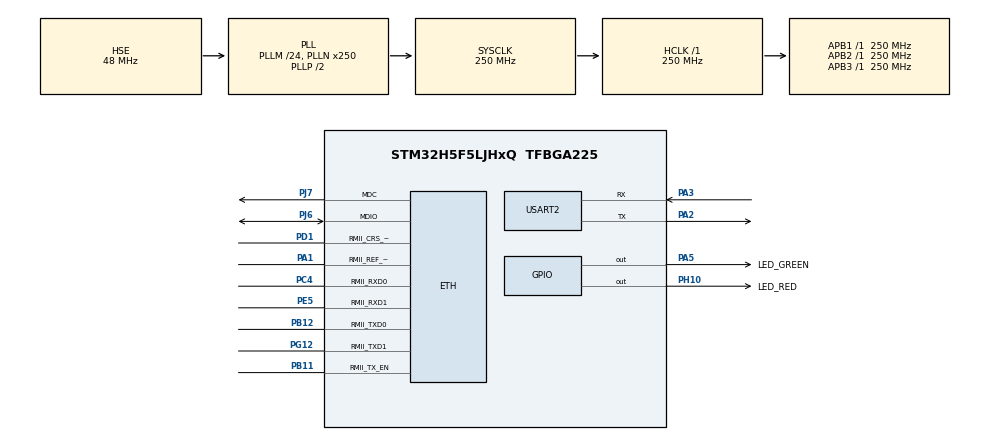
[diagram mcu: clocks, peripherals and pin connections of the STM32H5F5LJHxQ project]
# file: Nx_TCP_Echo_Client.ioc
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CORTEX_M33_NS.userName=CORTEX_M33
ETH.MediaInterface=HAL_ETH_RMII_MODE
ETH.RxBuffLen=1536
Mcu.Family=STM32H5
Mcu.Name=STM32H5F5LJHxQ
Mcu.Package=TFBGA225
NETXDUO.ETH_ON=1
NETXDUO.LAN_8742=1
NETXDUO.NX_APP_IP_INSTANCE_THREAD_SIZE=2 * 1024
NETXDUO.NX_APP_MEM_POOL_SIZE=30 * 1024
NETXDUO.NX_APP_PACKET_POOL_SIZE=10
NETXDUO.NX_APP_THREAD_STACK_SIZE=2 * 1024
NETXDUO.NX_DHCP_CLIENT_RESTORE_STATE=true
NETXDUO.NX_ENABLE_INTERFACE_CAPABILITY=true
NETXDUO.NetXDuo_Application_Thread_Name=App_Main_Thread_Entry
NETXDUO.NetXDuo_Generate_Init_Code=true
NVIC.ETH_IRQn=true\:7\:0\:true\:false\:true\:false\:true\:true\:true
NVIC.PriorityGroup=NVIC_PRIORITYGROUP_4
NVIC.TIM6_IRQn=true\:15\:0\:false\:false\:true\:false\:false\:true\:true
NVIC.TimeBase=TIM6_IRQn
NVIC.TimeBaseIP=TIM6
NetXDuo.BSP.number=1
NetXDuo0.BSP.STBoard=false
NetXDuo0.BSP.api=BSP_COMPONENT_DRIVER
NetXDuo0.BSP.component=lan8742
NetXDuo0.BSP.instance=lan8742
NetXDuo0.BSP.name=LAN_Component
NetXDuo0.BSP.semaphore=SEMA_lan8742
NetXDuo0.BSP.solution=lan8742
PA1.GPIO_Speed=GPIO_SPEED_FREQ_VERY_HIGH
PA1.Mode=RMII
PA1.Signal=ETH_RMII_REF_CLK
PA2.GPIO_Speed=GPIO_SPEED_FREQ_HIGH
PA2.Mode=Asynchronous
PA2.Signal=USART2_TX
PA3.GPIO_Speed=GPIO_SPEED_FREQ_HIGH
PA3.Mode=Asynchronous
PA3.Signal=USART2_RX
PA5.GPIO_Label=LED_GREEN
PA5.GPIO_Speed=GPIO_SPEED_FREQ_HIGH
PA5.PinState=GPIO_PIN_SET
PA5.Signal=GPIO_Output
PB11.GPIO_Speed=GPIO_SPEED_FREQ_VERY_HIGH
PB11.Mode=RMII
PB11.Signal=ETH_RMII_TX_EN
PB12.GPIO_Speed=GPIO_SPEED_FREQ_VERY_HIGH
PB12.Mode=RMII
PB12.Signal=ETH_RMII_TXD0
PC4.GPIO_Speed=GPIO_SPEED_FREQ_VERY_HIGH
PC4.Mode=RMII
PC4.Signal=ETH_RMII_RXD0
PD1.GPIO_Speed=GPIO_SPEED_FREQ_VERY_HIGH
PD1.Mode=RMII
PD1.Signal=ETH_RMII_CRS_DV
PE5.GPIO_Speed=GPIO_SPEED_FREQ_VERY_HIGH
PE5.Mode=RMII
PE5.Signal=ETH_RMII_RXD1
PG12.GPIO_Speed=GPIO_SPEED_FREQ_VERY_HIGH
PG12.Mode=RMII
PG12.Signal=ETH_RMII_TXD1
PH0-OSC_IN(PH0).Mode=HSE-External-Oscillator
PH0-OSC_IN(PH0).Signal=RCC_OSC_IN
PH1-OSC_OUT(PH1).Mode=HSE-External-Oscillator
PH1-OSC_OUT(PH1).Signal=RCC_OSC_OUT
PH10.GPIO_Label=LED_RED
PH10.GPIO_Speed=GPIO_SPEED_FREQ_HIGH
PH10.PinState=GPIO_PIN_SET
PH10.Signal=GPIO_Output
PJ6.GPIO_Speed=GPIO_SPEED_FREQ_VERY_HIGH
PJ6.Mode=RMII
PJ6.Signal=ETH_MDIO
PJ7.GPIO_Speed=GPIO_SPEED_FREQ_VERY_HIGH
PJ7.Mode=RMII
PJ7.Signal=ETH_MDC
ProjectManager.HeapSize=0x200
ProjectManager.StackSize=0x400
ProjectManager.TargetToolchain=EWARM V9.20
RCC.ADCFreq_Value=250000000
RCC.AHBFreq_Value=250000000
RCC.APB1Freq_Value=250000000
RCC.APB1TimFreq_Value=250000000
RCC.APB2Freq_Value=250000000
RCC.APB2TimFreq_Value=250000000
RCC.APB3Freq_Value=250000000
RCC.CSI_VALUE=4000000
RCC.CortexFreq_Value=250000000
RCC.EPOD_VALUE=48000000
RCC.HCLKFreq_Value=250000000
RCC.HSE_VALUE=48000000
RCC.HSI48_VALUE=48000000
RCC.HSI_VALUE=64000000
RCC.LSE_VALUE=32768
RCC.LSIRC_VALUE=32000
RCC.PLL2FRACN=0
RCC.PLL3FRACN=0
RCC.PLLFRACN=0
RCC.PLLM=24
RCC.PLLN=250
RCC.PLLSourceVirtual=RCC_PLL1_SOURCE_HSE
RCC.SYSCLKFreq_VALUE=250000000
RCC.SYSCLKSource=RCC_SYSCLKSOURCE_PLLCLK
RCC.USBFreq_Value=258000000
RCC.VCOOutputFreq_Value=500000000
THREADX.TX_APP_CREATION=1
THREADX.TX_APP_GENERATE_INIT_CODE=false
THREADX.TX_APP_MEM_POOL_SIZE=1024
THREADX.TX_APP_THREAD_ENTRY=MainThread_Entry
THREADX.TX_APP_THREAD_NAME=Main Thread
THREADX.TX_APP_THREAD_PRIO=5
USART2.VirtualMode-Asynchronous=VM_ASYNC
VP_CORTEX_M33_NS_VS_Hclk.Mode=Hclk_Mode
VP_ICACHE_VS_ICACHE.Mode=DefaultMode
VP_NETXDUO_VS_AddonsOoDHCP.Mode=Addons_DHCP_Client
VP_NETXDUO_VS_EthernetOoPhyOoInterface.Mode=LAN8742_Phy_Interface
VP_NETXDUO_VS_NXOoCore.Mode=NX_Core
VP_NETXDUO_VS_NetworkOoInterface.Mode=Ethernet_Interface
VP_PWR_VS_LPOM.Mode=PowerOptimisation
VP_PWR_VS_SECSignals.Mode=Security/Privilege
VP_SYS_VS_tim6.Mode=TIM6
VP_THREADX_VS_RTOSJjThreadXJjCoreJjDefault.Mode=Core_Default
board=custom

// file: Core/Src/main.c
/* USER CODE BEGIN Header */
/**
  ******************************************************************************
  * @file           : main.c
  * @brief          : Main program body
  ******************************************************************************
  * @attention
  *
  * Copyright (c) 2025 STMicroelectronics.
  * All rights reserved.
  *
  * This software is licensed under terms that can be found in the LICENSE file
  * in the root directory of this software component.
  * If no LICENSE file comes with this software, it is provided AS-IS.
  *
  ******************************************************************************
  */
/* USER CODE END Header */
#include "app_threadx.h"
#include "main.h"

/* USER CODE BEGIN Includes */
#if defined(__ICCARM__)
#include <LowLevelIOInterface.h>
#endif /* __ICCARM__ */
/* USER CODE END Includes */

ETH_DMADescTypeDef  DMARxDscrTab[ETH_RX_DESC_CNT]; /* Ethernet Rx DMA Descriptors */
ETH_DMADescTypeDef  DMATxDscrTab[ETH_TX_DESC_CNT]; /* Ethernet Tx DMA Descriptors */

ETH_HandleTypeDef heth;

UART_HandleTypeDef huart2;

void SystemClock_Config(void);
static void MX_GPIO_Init(void);
static void MX_ICACHE_Init(void);
static void MX_USART2_UART_Init(void);
static void MX_ETH_Init(void);
/* USER CODE BEGIN PFP */
#if defined(__ICCARM__)
/* New definition from EWARM V9, compatible with EWARM8 */
int iar_fputc(int ch);
#define PUTCHAR_PROTOTYPE int iar_fputc(int ch)
#elif defined ( __CC_ARM ) || defined(__ARMCC_VERSION)
/* ARM Compiler 5/6*/
#define PUTCHAR_PROTOTYPE int fputc(int ch, FILE *f)
#elif defined(__GNUC__)
#define PUTCHAR_PROTOTYPE int __io_putchar(int ch)
#endif /* __ICCARM__ */
/* USER CODE END PFP */

int main(void)
{

  /* MCU Configuration--------------------------------------------------------*/

  /* Reset of all peripherals, Initializes the Flash interface and the Systick. */
  HAL_Init();

  /* Configure the system clock */
  SystemClock_Config();

  /* Initialize all configured peripherals */
  MX_GPIO_Init();
  MX_ICACHE_Init();
  MX_USART2_UART_Init();
  MX_ETH_Init();

  MX_ThreadX_Init();

  /* We should never get here as control is now taken by the scheduler */

  /* Infinite loop */
  while (1)
  {

  }
}

void SystemClock_Config(void)
{
  RCC_OscInitTypeDef RCC_OscInitStruct = {0};
  RCC_ClkInitTypeDef RCC_ClkInitStruct = {0};

  /** Configure the main internal regulator output voltage
  */
  __HAL_PWR_VOLTAGESCALING_CONFIG(PWR_REGULATOR_VOLTAGE_SCALE0);

  while(!__HAL_PWR_GET_FLAG(PWR_FLAG_VOSRDY)) {}

  /** Initializes the RCC Oscillators according to the specified parameters
    * in the RCC_OscInitTypeDef structure.
    */
  RCC_OscInitStruct.OscillatorType = RCC_OSCILLATORTYPE_HSE;
  RCC_OscInitStruct.HSEState = RCC_HSE_ON;
  RCC_OscInitStruct.PLL.PLLState = RCC_PLL_ON;
  RCC_OscInitStruct.PLL.PLLSource = RCC_PLL1_SOURCE_HSE;
  RCC_OscInitStruct.PLL.PLLM = 24;
  RCC_OscInitStruct.PLL.PLLN = 250;
  RCC_OscInitStruct.PLL.PLLP = 2;
  RCC_OscInitStruct.PLL.PLLQ = 2;
  RCC_OscInitStruct.PLL.PLLR = 2;
  RCC_OscInitStruct.PLL.PLLRGE = RCC_PLL1_VCIRANGE_1;
  RCC_OscInitStruct.PLL.PLLVCOSEL = RCC_PLL1_VCORANGE_WIDE;
  RCC_OscInitStruct.PLL.PLLFRACN = 0;
  if (HAL_RCC_OscConfig(&RCC_OscInitStruct) != HAL_OK)
  {
    Error_Handler();
  }

  /** Initializes the CPU, AHB and APB buses clocks
    */
  RCC_ClkInitStruct.ClockType = RCC_CLOCKTYPE_HCLK|RCC_CLOCKTYPE_SYSCLK
                              |RCC_CLOCKTYPE_PCLK1|RCC_CLOCKTYPE_PCLK2
                              |RCC_CLOCKTYPE_PCLK3;
  RCC_ClkInitStruct.SYSCLKSource = RCC_SYSCLKSOURCE_PLLCLK;
  RCC_ClkInitStruct.AHBCLKDivider = RCC_SYSCLK_DIV1;
  RCC_ClkInitStruct.APB1CLKDivider = RCC_HCLK_DIV1;
  RCC_ClkInitStruct.APB2CLKDivider = RCC_HCLK_DIV1;
  RCC_ClkInitStruct.APB3CLKDivider = RCC_HCLK_DIV1;

  if (HAL_RCC_ClockConfig(&RCC_ClkInitStruct, FLASH_LATENCY_5) != HAL_OK)
  {
    Error_Handler();
  }

  /** Configure the programming delay
  */
  __HAL_FLASH_SET_PROGRAM_DELAY(FLASH_PROGRAMMING_DELAY_2);
}

static void MX_ETH_Init(void)
{

   static uint8_t MACAddr[6];

  heth.Instance = ETH;
  MACAddr[0] = 0x00;
  MACAddr[1] = 0x80;
  MACAddr[2] = 0xE1;
  MACAddr[3] = 0x00;
  MACAddr[4] = 0x00;
  MACAddr[5] = 0x00;
  heth.Init.MACAddr = &MACAddr[0];
  heth.Init.MediaInterface = HAL_ETH_RMII_MODE;
  heth.Init.TxDesc = DMATxDscrTab;
  heth.Init.RxDesc = DMARxDscrTab;
  heth.Init.RxBuffLen = 1536;

  if (HAL_ETH_Init(&heth) != HAL_OK)
  {
    Error_Handler();
  }

}

static void MX_ICACHE_Init(void)
{

  /** Enable instruction cache (default 2-ways set associative cache)
  */
  if (HAL_ICACHE_Enable() != HAL_OK)
  {
    Error_Handler();
  }

}

static void MX_USART2_UART_Init(void)
{

  huart2.Instance = USART2;
  huart2.Init.BaudRate = 115200;
  huart2.Init.WordLength = UART_WORDLENGTH_8B;
  huart2.Init.StopBits = UART_STOPBITS_1;
  huart2.Init.Parity = UART_PARITY_NONE;
  huart2.Init.Mode = UART_MODE_TX_RX;
  huart2.Init.HwFlowCtl = UART_HWCONTROL_NONE;
  huart2.Init.OverSampling = UART_OVERSAMPLING_16;
  huart2.Init.OneBitSampling = UART_ONE_BIT_SAMPLE_DISABLE;
  huart2.Init.ClockPrescaler = UART_PRESCALER_DIV1;
  huart2.AdvancedInit.AdvFeatureInit = UART_ADVFEATURE_NO_INIT;
  if (HAL_UART_Init(&huart2) != HAL_OK)
  {
    Error_Handler();
  }
  if (HAL_UARTEx_SetTxFifoThreshold(&huart2, UART_TXFIFO_THRESHOLD_1_8) != HAL_OK)
  {
    Error_Handler();
  }
  if (HAL_UARTEx_SetRxFifoThreshold(&huart2, UART_RXFIFO_THRESHOLD_1_8) != HAL_OK)
  {
    Error_Handler();
  }
  if (HAL_UARTEx_DisableFifoMode(&huart2) != HAL_OK)
  {
    Error_Handler();
  }

}

static void MX_GPIO_Init(void)
{
  GPIO_InitTypeDef GPIO_InitStruct = {0};

  /* GPIO Ports Clock Enable */
  __HAL_RCC_GPIOH_CLK_ENABLE();
  __HAL_RCC_GPIOA_CLK_ENABLE();

  /*Configure GPIO pin Output Level */
  HAL_GPIO_WritePin(LED_RED_GPIO_Port, LED_RED_Pin, GPIO_PIN_SET);

  /*Configure GPIO pin Output Level */
  HAL_GPIO_WritePin(LED_GREEN_GPIO_Port, LED_GREEN_Pin, GPIO_PIN_SET);

  /*Configure GPIO pin : LED_RED_Pin */
  GPIO_InitStruct.Pin = LED_RED_Pin;
  GPIO_InitStruct.Mode = GPIO_MODE_OUTPUT_PP;
  GPIO_InitStruct.Pull = GPIO_NOPULL;
  GPIO_InitStruct.Speed = GPIO_SPEED_FREQ_HIGH;
  HAL_GPIO_Init(LED_RED_GPIO_Port, &GPIO_InitStruct);

  /*Configure GPIO pin : LED_GREEN_Pin */
  GPIO_InitStruct.Pin = LED_GREEN_Pin;
  GPIO_InitStruct.Mode = GPIO_MODE_OUTPUT_PP;
  GPIO_InitStruct.Pull = GPIO_NOPULL;
  GPIO_InitStruct.Speed = GPIO_SPEED_FREQ_HIGH;
  HAL_GPIO_Init(LED_GREEN_GPIO_Port, &GPIO_InitStruct);

}

/* USER CODE BEGIN 4 */
/**
* @brief  This function is executed in case of success.
* @retval None
*/
void Success_Handler(void)
{
  /* USER CODE BEGIN Success_Handler_Debug */
  while(1)
  {
    HAL_GPIO_TogglePin(LED_GREEN_GPIO_Port, LED_GREEN_Pin);
    tx_thread_sleep(50);
  }
  /* USER CODE END Success_Handler_Debug */
}

/**
  * @brief  Retargets the C library __write function to the IAR function iar_fputc.
  * @param  file: file descriptor.
  * @param  ptr: pointer to the buffer where the data is stored.
  * @param  len: length of the data to write in bytes.
  * @retval length of the written data in bytes.
  */
#if defined(__ICCARM__)
size_t __write(int file, unsigned char const *ptr, size_t len)
{
  size_t idx;
  unsigned char const *pdata = ptr;

  for (idx = 0; idx < len; idx++)
  {
    iar_fputc((int)*pdata);
    pdata++;
  }
  return len;
}
#endif /* __ICCARM__ */

/**
  * @brief  Retargets the C library printf function to the USART.
  */
PUTCHAR_PROTOTYPE
{
  /* Place your implementation of fputc here */
  /* e.g. write a character to the USART2 and Loop until the end of transmission */
  HAL_UART_Transmit(&huart2, (uint8_t *)&ch, 1, 0xFFFF);

  return ch;
}

/* USER CODE END 4 */

void HAL_TIM_PeriodElapsedCallback(TIM_HandleTypeDef *htim)
{
  if (htim->Instance == TIM6)
  {
    HAL_IncTick();
  }
}

void Error_Handler(void)
{
  /* USER CODE BEGIN Error_Handler_Debug */
  /* User can add his own implementation to report the HAL error return state */
  while(1)
  {
    HAL_GPIO_TogglePin(LED_RED_GPIO_Port, LED_RED_Pin);
    HAL_Delay(1000);
  }
  /* USER CODE END Error_Handler_Debug */
}
